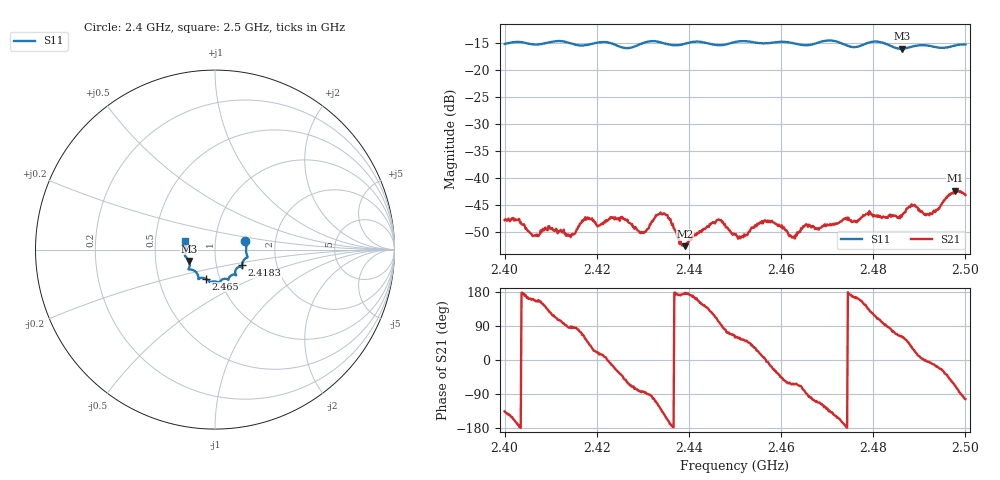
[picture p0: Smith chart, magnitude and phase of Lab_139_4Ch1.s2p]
# Hz S RI R
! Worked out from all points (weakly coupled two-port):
!   601 points, 2.4 GHz to 2.5 GHz, reference 50 ohm
!   highest |S21| = -42.37 dB at 2.4978 GHz (marker M1); lowest = -52.7 dB at 2.4392 GHz (marker M2)
!   lowest |S11| = -16.0 dB at 2.4862 GHz (marker M3), VSWR 1.37, Z = 37.1 - j4.82 ohm
!   |S11| at or under -10 dB: start of sweep to end of sweep
!   S12 and S22 are empty: the file has one direction only
!   S11 on the Smith chart (normalised r, x): 2.4 GHz: 1.40, +0.13; 2.4183 GHz: 1.33, -0.24; 2.465 GHz: 0.86, -0.29; 2.5 GHz: 0.71, +0.07
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2.4e9  0.1688 0.0459  -0.00291 -0.00284  0 0  0 0
2.406667e9  0.1727 0.000869  -0.00271 0.00116  0 0  0 0
2.4145e9  0.1692 -0.0496  0.00031 0.0029  0 0  0 0
2.416667e9  0.155 -0.0684  0.00124 0.00364  0 0  0 0
2.418333e9  0.1497 -0.0868  0.00318 0.00284  0 0  0 0
2.425667e9  0.128 -0.0989  0.00302 -0.00289  0 0  0 0
2.429833e9  0.1136 -0.1356  0.000379 -0.00309  0 0  0 0
2.433333e9  0.1168 -0.1414  -0.00226 -0.00396  0 0  0 0
2.4355e9  0.1038 -0.139  -0.00398 -0.00148  0 0  0 0
2.439167e9  0.0773 -0.1581  -0.00232 0.000112  0 0  0 0
2.4465e9  0.0483 -0.1634  -0.000754 0.00405  0 0  0 0
2.45e9  0.0252 -0.1807  0.0015 0.00256  0 0  0 0
2.456667e9  -0.00705 -0.1771  0.00399 6.78e-05  0 0  0 0
2.4625e9  -0.0342 -0.1749  0.0013 -0.00248  0 0  0 0
2.465e9  -0.0529 -0.1621  0.000588 -0.00348  0 0  0 0
2.466667e9  -0.0714 -0.1576  -0.000748 -0.00346  0 0  0 0
2.483333e9  -0.1419 -0.0957  0.000256 0.00445  0 0  0 0
2.486167e9  -0.1445 -0.0633  0.00201 0.00388  0 0  0 0
2.488667e9  -0.1609 -0.0425  0.00488 0.0026  0 0  0 0
2.492333e9  -0.1661 -0.0253  0.00468 -0.000599  0 0  0 0
2.497833e9  -0.166 0.0352  0.00267 -0.00713  0 0  0 0
2.5e9  -0.1666 0.0473  -0.00158 -0.00676  0 0  0 0
